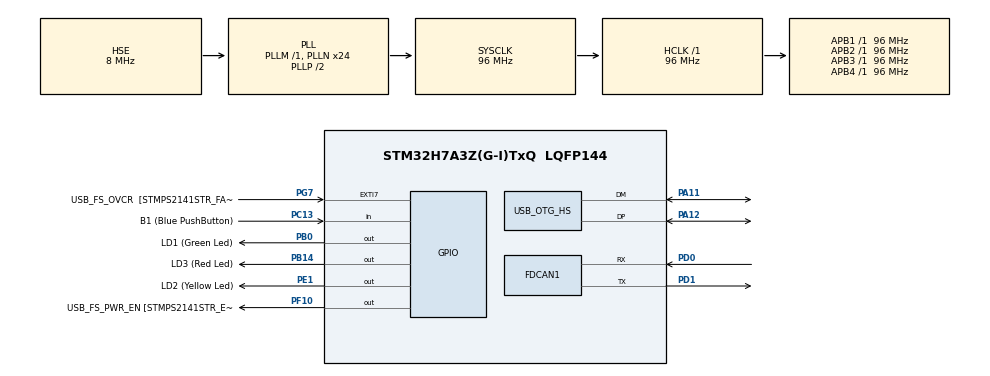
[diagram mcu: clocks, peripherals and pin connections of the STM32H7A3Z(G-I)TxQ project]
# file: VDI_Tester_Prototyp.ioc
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FDCAN1.AutoRetransmission=ENABLE
FDCAN1.CalculateBaudRateNominal=125000
FDCAN1.CalculateTimeBitNominal=8000
FDCAN1.CalculateTimeQuantumNominal=333.3333333333333
FDCAN1.DataPrescaler=1
FDCAN1.NominalPrescaler=16
FDCAN1.NominalTimeSeg1=16
FDCAN1.NominalTimeSeg2=7
FDCAN1.RxFifo0ElmtsNbr=1
FDCAN1.TxFifoQueueElmtsNbr=1
Mcu.Family=STM32H7
Mcu.Name=STM32H7A3Z(G-I)TxQ
Mcu.Package=LQFP144
NVIC.FDCAN1_IT0_IRQn=true\:0\:0\:false\:false\:true\:true\:true\:true
NVIC.OTG_HS_IRQn=true\:0\:0\:false\:false\:true\:false\:true\:true
NVIC.PriorityGroup=NVIC_PRIORITYGROUP_4
PA10.GPIO_Mode=GPIO_MODE_AF_PP
PA10.GPIO_PuPd=GPIO_NOPULL
PA10.GPIO_Speed=GPIO_SPEED_FREQ_LOW
PA10.Signal=USB_OTG_HS_ID
PA11.GPIO_Mode=GPIO_MODE_AF_PP
PA11.GPIO_PuPd=GPIO_NOPULL
PA11.GPIO_Speed=GPIO_SPEED_FREQ_LOW
PA11.Mode=Device_Only_FS
PA11.Signal=USB_OTG_HS_DM
PA12.GPIO_Mode=GPIO_MODE_AF_PP
PA12.GPIO_PuPd=GPIO_NOPULL
PA12.GPIO_Speed=GPIO_SPEED_FREQ_LOW
PA12.Mode=Device_Only_FS
PA12.Signal=USB_OTG_HS_DP
PA9.GPIO_Mode=GPIO_MODE_INPUT
PA9.GPIO_PuPd=GPIO_NOPULL
PA9.Signal=USB_OTG_HS_VBUS
PB0.GPIO_Label=LD1 (Green Led)
PB0.Signal=GPIO_Output
PB14.GPIO_Label=LD3 (Red Led)
PB14.Signal=GPIO_Output
PC13.GPIO_Label=B1 (Blue PushButton)
PC13.Signal=GPIO_Input
PC14-OSC32_IN.GPIO_Label=OSC32_IN
PC14-OSC32_IN.Mode=LSE-External-Oscillator
PC14-OSC32_IN.Signal=RCC_OSC32_IN
PC15-OSC32_OUT.GPIO_Label=OSC32_OUT
PC15-OSC32_OUT.Mode=LSE-External-Oscillator
PC15-OSC32_OUT.Signal=RCC_OSC32_OUT
PD0.Mode=FDCAN_Activate
PD0.Signal=FDCAN1_RX
PD1.Mode=FDCAN_Activate
PD1.Signal=FDCAN1_TX
PD8.GPIO_Label=STLINK_RX
PD8.Signal=USART3_TX
PD9.GPIO_Label=STLINK_TX
PD9.Signal=USART3_RX
PE1.GPIO_Label=LD2 (Yellow Led)
PE1.Signal=GPIO_Output
PF10.GPIO_Label=USB_FS_PWR_EN [STMPS2141STR_EN]
PF10.Signal=GPIO_Output
PG7.GPIO_Label=USB_FS_OVCR  [STMPS2141STR_FAULT]
PG7.Signal=GPXTI7
PH0-OSC_IN.GPIO_Label=PH0-MCU
PH0-OSC_IN.Mode=HSE-External-Clock-Source
PH0-OSC_IN.Signal=RCC_OSC_IN
PH1-OSC_OUT.GPIO_Label=PH1-MCU
PH1-OSC_OUT.Signal=RCC_OSC_OUT
ProjectManager.HeapSize=0x200
ProjectManager.StackSize=0x400
ProjectManager.TargetToolchain=STM32CubeIDE
RCC.ADCFreq_Value=16125000
RCC.APB1Freq_Value=96000000
RCC.APB2Freq_Value=96000000
RCC.APB3Freq_Value=96000000
RCC.APB4Freq_Value=96000000
RCC.CortexFreq_Value=96000000
RCC.DIVM1=1
RCC.DIVM3=1
RCC.DIVN1=24
RCC.DIVN3=24
RCC.DIVQ1=4
RCC.HCLKFreq_Value=96000000
RCC.HSE_VALUE=8000000
RCC.PLLFRACN=0
RCC.PLLSourceVirtual=RCC_PLLSOURCE_HSE
RCC.PWR_Regulator_Voltage_Scale=PWR_REGULATOR_VOLTAGE_SCALE0
RCC.SYSCLKFreq_VALUE=96000000
RCC.SYSCLKSource=RCC_SYSCLKSOURCE_PLLCLK
RCC.SupplySource=PWR_DIRECT_SMPS_SUPPLY
RCC.USBCLockSelection=RCC_USBCLKSOURCE_HSI48
RCC.USBFreq_Value=48000000
USB_DEVICE.CLASS_NAME_HS=CDC
USB_DEVICE.PRODUCT_STRING_CDC_HS=STM32 Virtual Port
USB_DEVICE.VirtualMode=Cdc
USB_DEVICE.VirtualModeHS=Cdc_HS
USB_OTG_HS.VirtualMode-Device_Only_FS=Device_Only_FS
VP_MEMORYMAP_VS_MEMORYMAP.Mode=CurAppReg
VP_USB_DEVICE_VS_USB_DEVICE_CDC_HS.Mode=CDC_HS
board=NUCLEO-H7A3ZI-Q

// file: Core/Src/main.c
/* USER CODE BEGIN Header */
/**
 ******************************************************************************
 * @file           : main.c
 * @brief          : Main program body
 ******************************************************************************
 * @attention
 *
 * Copyright (c) 2024 STMicroelectronics.
 * All rights reserved.
 *
 * This software is licensed under terms that can be found in the LICENSE file
 * in the root directory of this software component.
 * If no LICENSE file comes with this software, it is provided AS-IS.
 *
 ******************************************************************************
 */
/* USER CODE END Header */
#include "main.h"
#include "usb_device.h"

/* USER CODE BEGIN Includes */
#include "usbd_cdc_if.h"
#include "stdbool.h"
#include "string.h"
#include <stdlib.h>
#include <stdio.h>
/* USER CODE END Includes */

FDCAN_HandleTypeDef hfdcan1;

/* USER CODE BEGIN PV */
uint8_t TxData[CAN_SIZE];
uint8_t RxData[CAN_SIZE];
uint32_t TxMailbox;
FDCAN_TxHeaderTypeDef TxHeader;
FDCAN_RxHeaderTypeDef RxHeader;

/* USER CODE END PV */

void SystemClock_Config(void);
static void MX_GPIO_Init(void);
static void MX_FDCAN1_Init(void);
/* USER CODE BEGIN PFP */
void FDCAN_Send_Command(uint32_t CAN_Id, uint32_t dlc, uint8_t *pdata);
void FDCAN_Receive();

void USB_Send_Command(uint8_t *data);
int array_to_num(int arr[], int n);
/* USER CODE END PFP */

/* USER CODE BEGIN 0 */
//char *data = "Hello from UC\n";
uint8_t buffer[APP_RX_DATA_SIZE];

/* USER CODE END 0 */

int main(void) {

	/* MCU Configuration--------------------------------------------------------*/

	/* Reset of all peripherals, Initializes the Flash interface and the Systick. */
	HAL_Init();

	/* Configure the system clock */
	SystemClock_Config();

	/* Initialize all configured peripherals */
	MX_GPIO_Init();
	MX_FDCAN1_Init();
	MX_USB_DEVICE_Init();
	/* USER CODE BEGIN 2 */
	HAL_FDCAN_Start(&hfdcan1);
	HAL_FDCAN_ActivateNotification(&hfdcan1, FDCAN_IT_RX_FIFO0_NEW_MESSAGE, 0);

	/* USER CODE END 2 */

	/* Infinite loop */
	while (1) {

		/* USER CODE BEGIN 3 */
		//	FDCAN_Send_Bridge_Command();
//		USB_Received();

	}
	/* USER CODE END 3 */
}

void SystemClock_Config(void) {
	RCC_OscInitTypeDef RCC_OscInitStruct = { 0 };
	RCC_ClkInitTypeDef RCC_ClkInitStruct = { 0 };

	/*AXI clock gating */
	RCC->CKGAENR = 0xFFFFFFFF;

	/** Supply configuration update enable
	 */
	HAL_PWREx_ConfigSupply(PWR_DIRECT_SMPS_SUPPLY);

	/** Configure the main internal regulator output voltage
	 */
	__HAL_PWR_VOLTAGESCALING_CONFIG(PWR_REGULATOR_VOLTAGE_SCALE0);

	while (!__HAL_PWR_GET_FLAG(PWR_FLAG_VOSRDY)) {
	}

	/** Initializes the RCC Oscillators according to the specified parameters
	 * in the RCC_OscInitTypeDef structure.
	 */
	RCC_OscInitStruct.OscillatorType = RCC_OSCILLATORTYPE_HSI48
			| RCC_OSCILLATORTYPE_HSE;
	RCC_OscInitStruct.HSEState = RCC_HSE_BYPASS;
	RCC_OscInitStruct.HSI48State = RCC_HSI48_ON;
	RCC_OscInitStruct.PLL.PLLState = RCC_PLL_ON;
	RCC_OscInitStruct.PLL.PLLSource = RCC_PLLSOURCE_HSE;
	RCC_OscInitStruct.PLL.PLLM = 1;
	RCC_OscInitStruct.PLL.PLLN = 24;
	RCC_OscInitStruct.PLL.PLLP = 2;
	RCC_OscInitStruct.PLL.PLLQ = 4;
	RCC_OscInitStruct.PLL.PLLR = 2;
	RCC_OscInitStruct.PLL.PLLRGE = RCC_PLL1VCIRANGE_3;
	RCC_OscInitStruct.PLL.PLLVCOSEL = RCC_PLL1VCOWIDE;
	RCC_OscInitStruct.PLL.PLLFRACN = 0;
	if (HAL_RCC_OscConfig(&RCC_OscInitStruct) != HAL_OK) {
		Error_Handler();
	}

	/** Initializes the CPU, AHB and APB buses clocks
	 */
	RCC_ClkInitStruct.ClockType = RCC_CLOCKTYPE_HCLK | RCC_CLOCKTYPE_SYSCLK
			| RCC_CLOCKTYPE_PCLK1 | RCC_CLOCKTYPE_PCLK2 | RCC_CLOCKTYPE_D3PCLK1
			| RCC_CLOCKTYPE_D1PCLK1;
	RCC_ClkInitStruct.SYSCLKSource = RCC_SYSCLKSOURCE_PLLCLK;
	RCC_ClkInitStruct.SYSCLKDivider = RCC_SYSCLK_DIV1;
	RCC_ClkInitStruct.AHBCLKDivider = RCC_HCLK_DIV1;
	RCC_ClkInitStruct.APB3CLKDivider = RCC_APB3_DIV1;
	RCC_ClkInitStruct.APB1CLKDivider = RCC_APB1_DIV1;
	RCC_ClkInitStruct.APB2CLKDivider = RCC_APB2_DIV1;
	RCC_ClkInitStruct.APB4CLKDivider = RCC_APB4_DIV1;

	if (HAL_RCC_ClockConfig(&RCC_ClkInitStruct, FLASH_LATENCY_2) != HAL_OK) {
		Error_Handler();
	}
}

static void MX_FDCAN1_Init(void) {

	hfdcan1.Instance = FDCAN1;
	hfdcan1.Init.FrameFormat = FDCAN_FRAME_CLASSIC;
	hfdcan1.Init.Mode = FDCAN_MODE_NORMAL;
	hfdcan1.Init.AutoRetransmission = ENABLE;
	hfdcan1.Init.TransmitPause = DISABLE;
	hfdcan1.Init.ProtocolException = DISABLE;
	hfdcan1.Init.NominalPrescaler = 16;
	hfdcan1.Init.NominalSyncJumpWidth = 1;
	hfdcan1.Init.NominalTimeSeg1 = 16;
	hfdcan1.Init.NominalTimeSeg2 = 7;
	hfdcan1.Init.DataPrescaler = 1;
	hfdcan1.Init.DataSyncJumpWidth = 1;
	hfdcan1.Init.DataTimeSeg1 = 1;
	hfdcan1.Init.DataTimeSeg2 = 1;
	hfdcan1.Init.MessageRAMOffset = 0;
	hfdcan1.Init.StdFiltersNbr = 0;
	hfdcan1.Init.ExtFiltersNbr = 0;
	hfdcan1.Init.RxFifo0ElmtsNbr = 1;
	hfdcan1.Init.RxFifo0ElmtSize = FDCAN_DATA_BYTES_8;
	hfdcan1.Init.RxFifo1ElmtsNbr = 0;
	hfdcan1.Init.RxFifo1ElmtSize = FDCAN_DATA_BYTES_8;
	hfdcan1.Init.RxBuffersNbr = 0;
	hfdcan1.Init.RxBufferSize = FDCAN_DATA_BYTES_8;
	hfdcan1.Init.TxEventsNbr = 0;
	hfdcan1.Init.TxBuffersNbr = 0;
	hfdcan1.Init.TxFifoQueueElmtsNbr = 1;
	hfdcan1.Init.TxFifoQueueMode = FDCAN_TX_FIFO_OPERATION;
	hfdcan1.Init.TxElmtSize = FDCAN_DATA_BYTES_8;
	if (HAL_FDCAN_Init(&hfdcan1) != HAL_OK) {
		Error_Handler();
	}

}

static void MX_GPIO_Init(void) {
	GPIO_InitTypeDef GPIO_InitStruct = { 0 };

	/* GPIO Ports Clock Enable */
	__HAL_RCC_GPIOC_CLK_ENABLE();
	__HAL_RCC_GPIOF_CLK_ENABLE();
	__HAL_RCC_GPIOH_CLK_ENABLE();
	__HAL_RCC_GPIOB_CLK_ENABLE();
	__HAL_RCC_GPIOD_CLK_ENABLE();
	__HAL_RCC_GPIOG_CLK_ENABLE();
	__HAL_RCC_GPIOA_CLK_ENABLE();
	__HAL_RCC_GPIOE_CLK_ENABLE();

	/*Configure GPIO pin Output Level */
	HAL_GPIO_WritePin(USB_FS_PWR_EN_GPIO_Port, USB_FS_PWR_EN_Pin, GPIO_PIN_RESET);

	/*Configure GPIO pin Output Level */
	HAL_GPIO_WritePin(GPIOB, LD1_Pin | LD3_Pin, GPIO_PIN_RESET);

	/*Configure GPIO pin Output Level */
	HAL_GPIO_WritePin(LD2_GPIO_Port, LD2_Pin, GPIO_PIN_RESET);

	/*Configure GPIO pin : B1_Pin */
	GPIO_InitStruct.Pin = B1_Pin;
	GPIO_InitStruct.Mode = GPIO_MODE_INPUT;
	GPIO_InitStruct.Pull = GPIO_NOPULL;
	HAL_GPIO_Init(B1_GPIO_Port, &GPIO_InitStruct);

	/*Configure GPIO pin : USB_FS_PWR_EN_Pin */
	GPIO_InitStruct.Pin = USB_FS_PWR_EN_Pin;
	GPIO_InitStruct.Mode = GPIO_MODE_OUTPUT_PP;
	GPIO_InitStruct.Pull = GPIO_NOPULL;
	GPIO_InitStruct.Speed = GPIO_SPEED_FREQ_LOW;
	HAL_GPIO_Init(USB_FS_PWR_EN_GPIO_Port, &GPIO_InitStruct);

	/*Configure GPIO pins : LD1_Pin LD3_Pin */
	GPIO_InitStruct.Pin = LD1_Pin | LD3_Pin;
	GPIO_InitStruct.Mode = GPIO_MODE_OUTPUT_PP;
	GPIO_InitStruct.Pull = GPIO_NOPULL;
	GPIO_InitStruct.Speed = GPIO_SPEED_FREQ_LOW;
	HAL_GPIO_Init(GPIOB, &GPIO_InitStruct);

	/*Configure GPIO pins : STLINK_RX_Pin STLINK_TX_Pin */
	GPIO_InitStruct.Pin = STLINK_RX_Pin | STLINK_TX_Pin;
	GPIO_InitStruct.Mode = GPIO_MODE_AF_PP;
	GPIO_InitStruct.Pull = GPIO_NOPULL;
	GPIO_InitStruct.Speed = GPIO_SPEED_FREQ_LOW;
	GPIO_InitStruct.Alternate = GPIO_AF7_USART3;
	HAL_GPIO_Init(GPIOD, &GPIO_InitStruct);

	/*Configure GPIO pin : USB_FS_OVCR_Pin */
	GPIO_InitStruct.Pin = USB_FS_OVCR_Pin;
	GPIO_InitStruct.Mode = GPIO_MODE_IT_RISING;
	GPIO_InitStruct.Pull = GPIO_NOPULL;
	HAL_GPIO_Init(USB_FS_OVCR_GPIO_Port, &GPIO_InitStruct);

	/*Configure GPIO pin : LD2_Pin */
	GPIO_InitStruct.Pin = LD2_Pin;
	GPIO_InitStruct.Mode = GPIO_MODE_OUTPUT_PP;
	GPIO_InitStruct.Pull = GPIO_NOPULL;
	GPIO_InitStruct.Speed = GPIO_SPEED_FREQ_LOW;
	HAL_GPIO_Init(LD2_GPIO_Port, &GPIO_InitStruct);

}

/* USER CODE BEGIN 4 */
void FDCAN_Send_Command(uint32_t CAN_Id, uint32_t dlc, uint8_t *pdata) {

	//Kommando aufbauen
	TxHeader.Identifier = CAN_Id;
	TxHeader.IdType = FDCAN_STANDARD_ID;
	TxHeader.TxFrameType = FDCAN_DATA_FRAME;
	TxHeader.DataLength = dlc;
	TxHeader.FDFormat = FDCAN_CLASSIC_CAN;

//	TxData[0] = 0x1; // Laut VDI-RICHTLINIEN - Tabelle C4 - Seite 12-13

	for (int i = 0; i < dlc; ++i) {
		TxData[i] = pdata[i];
	}

// Fragen ob FDCan bereit zum senden, sonst warten, Led blinkt

	HAL_Delay(300);
	if (HAL_FDCAN_AddMessageToTxFifoQ(&hfdcan1, &TxHeader, TxData) == HAL_OK) {
		// Kommando senden, Led Ein
		HAL_GPIO_WritePin(LD2_GPIO_Port, LD2_Pin, GPIO_PIN_SET);
	} else {
		HAL_GPIO_TogglePin(LD2_GPIO_Port, LD2_Pin);
	}
}

void FDCAN_Receive() {
	if (HAL_FDCAN_GetRxMessage(&hfdcan1, FDCAN_RX_FIFO0, &RxHeader, RxData)
			== HAL_OK) {
		HAL_GPIO_TogglePin(LD1_GPIO_Port, LD1_Pin);
	}

	char TX_Buffer[30];
	sprintf((char*) TX_Buffer, "ID:%d\n", (int) RxHeader.Identifier);
	memset(TxData, 0, sizeof(TxData));
	memcpy(TxData, TX_Buffer, 8);
	USB_Send_Command(TxData);

}

void USB_Send_Command(uint8_t *data) {
//	CDC_Transmit_HS(data, strlen( data));
	CDC_Transmit_HS(data, 10);

}

void USB_Received() {
//	uint8_t txID[4];
	uint32_t id = 0;
	uint32_t dlc = 8;
	uint8_t txData[8];
	char buff[4];
	for (int i = 0; i < 4; i++) {
		sprintf(&buff[i], "%d", buffer[i]-'0');
	}
	id = (uint32_t) atoi(buff);

	for (int i = 5; i < dlc + 5; i++) {
		txData[i - 5] = buffer[i];
	}

	FDCAN_Send_Command(id, dlc, txData);
}

/* USER CODE END 4 */

void Error_Handler(void) {
	__disable_irq();
	while (1) {
	}
}
